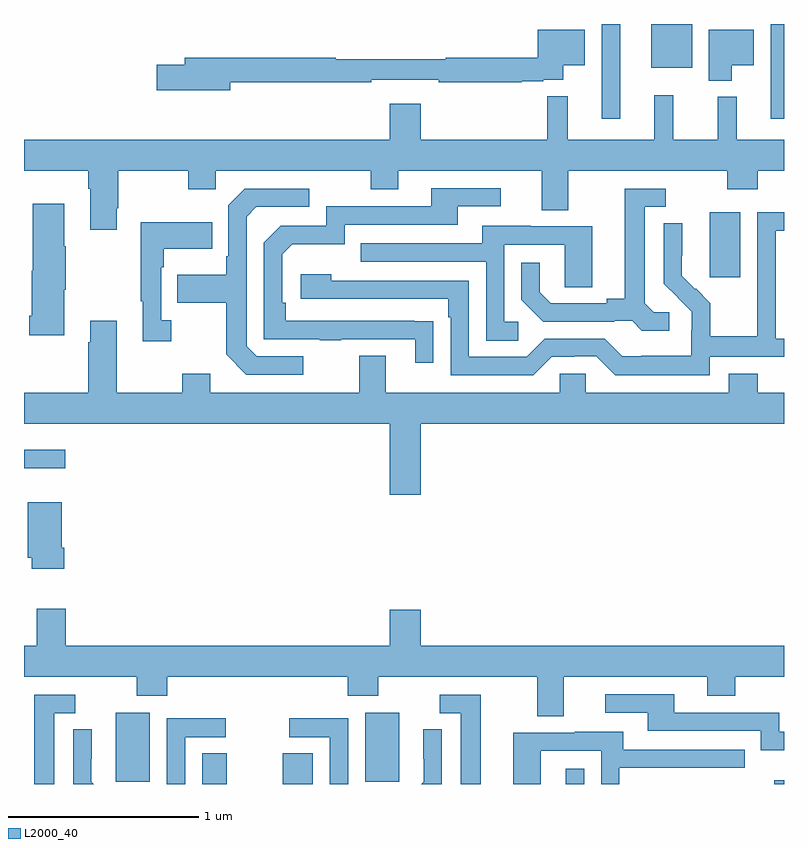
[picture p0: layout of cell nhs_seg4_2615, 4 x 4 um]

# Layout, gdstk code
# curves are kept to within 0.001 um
import gdstk
lib = gdstk.Library(unit=1e-6, precision=1e-09)
def R(c, l, rs):  # rectangles x0, y0, x1, y1
    for r in rs: c.add(gdstk.rectangle(r[:2], r[2:], *l))
def P(c, l, *ps):  # polygons
    for p in ps: c.add(gdstk.Polygon(p, *l))
L2000_40 = (2000, 40)

nhs_seg4_2615 = lib.new_cell('nhs_seg4_2615')
R(nhs_seg4_2615, L2000_40, [(247.937,818.9,248.068,819.062), (248.363,818.9,248.521,819.062), (249.851,818.9,249.948,818.98), (250.949,818.9,251,818.92), (247.484,818.913,247.663,819.274), (248.795,818.913,248.974,819.274), (247,820.563,247.216,820.66), (250.61,821.568,250.771,821.908), (250.041,822.402,250.138,822.9), (250.929,822.402,251,822.9), (250.301,822.671,250.516,822.9)])
P(nhs_seg4_2615, L2000_40, [(250.726,822.683),(250.84,822.683),(250.84,822.871),(250.604,822.871),(250.604,822.602),(250.726,822.602)],
  [(248.086,822.594),(248.828,822.594),(248.828,822.606),(249.184,822.606),(249.184,822.594),(249.62,822.594),(249.62,822.6),(249.734,822.6),(249.734,822.606),(249.838,822.606),(249.838,822.683),(249.952,822.683),(249.952,822.871),(249.704,822.871),(249.704,822.722),(249.22,822.722),(249.22,822.715),(248.641,822.715),(248.641,822.722),(247.847,822.722),(247.847,822.686),(247.698,822.686),(247.698,822.551),(248.086,822.551)],
  [(247.489,821.929),(247.497,821.929),(247.497,822.128),(247.864,822.128),(247.864,822.029),(248.01,822.029),(248.01,822.128),(248.824,822.128),(248.824,822.029),(248.971,822.029),(248.971,822.128),(249.725,822.128),(249.725,821.92),(249.865,821.92),(249.865,822.128),(250.702,822.128),(250.702,822.029),(250.862,822.029),(250.862,822.128),(251,822.128),(251,822.292),(250.751,822.292),(250.751,822.517),(250.651,822.517),(250.651,822.292),(250.416,822.292),(250.416,822.526),(250.316,822.526),(250.316,822.292),(249.863,822.292),(249.863,822.521),(249.754,822.521),(249.754,822.292),(249.088,822.292),(249.088,822.481),(248.924,822.481),(248.924,822.292),(247,822.292),(247,822.128),(247.337,822.128),(247.337,822.032),(247.349,822.032),(247.349,821.817),(247.489,821.817)],
  [(249.155,821.336),(248.378,821.337),(248.378,821.434),(248.358,821.434),(248.358,821.688),(248.411,821.741),(248.688,821.741),(248.688,821.844),(249.283,821.844),(249.283,821.94),(249.508,821.94),(249.508,822.036),(249.143,822.036),(249.143,821.94),(248.592,821.94),(248.592,821.838),(248.352,821.838),(248.262,821.748),(248.262,821.241),(248.557,821.241),(248.557,821.236),(248.669,821.236),(248.669,821.241),(249.059,821.241),(249.059,821.118),(249.155,821.118)],
  [(250.396,821.382),(250.314,821.382),(250.267,821.429),(250.267,821.937),(250.378,821.937),(250.378,822.033),(250.163,822.033),(250.163,821.453),(250.067,821.453),(250.067,821.43),(249.772,821.43),(249.715,821.487),(249.715,821.644),(249.618,821.644),(249.618,821.45),(249.734,821.334),(250.106,821.334),(250.106,821.337),(250.2,821.337),(250.252,821.285),(250.396,821.285)],
  [(248.47,821.151),(248.226,821.151),(248.172,821.205),(248.172,821.886),(248.223,821.937),(248.5,821.937),(248.5,822.033),(248.163,822.033),(248.076,821.946),(248.076,821.677),(248.064,821.677),(248.064,821.581),(247.807,821.581),(247.807,821.434),(248.064,821.434),(248.064,821.161),(248.169,821.055),(248.47,821.055)],
  [(247.213,821.501),(247.221,821.501),(247.221,821.729),(247.213,821.729),(247.213,821.953),(247.046,821.953),(247.046,821.601),(247.04,821.601),(247.04,821.365),(247.028,821.365),(247.028,821.261),(247.213,821.261)],
  [(250.608,821.148),(251,821.148),(251,821.244),(250.956,821.244),(250.956,821.811),(251,821.811),(251,821.91),(250.86,821.91),(250.86,821.48),(250.858,821.48),(250.858,821.257),(250.613,821.257),(250.613,821.431),(250.536,821.508),(250.533,821.505),(250.463,821.576),(250.463,821.68),(250.465,821.68),(250.465,821.852),(250.368,821.852),(250.368,821.534),(250.514,821.386),(250.514,821.289),(250.512,821.289),(250.512,821.155),(250.249,821.155),(250.249,821.151),(250.149,821.151),(250.056,821.244),(249.741,821.244),(249.645,821.148),(249.342,821.148),(249.342,821.55),(248.618,821.55),(248.618,821.584),(248.457,821.584),(248.457,821.454),(249.233,821.454),(249.233,821.357),(249.246,821.357),(249.246,821.052),(249.681,821.052),(249.777,821.148),(249.896,821.148),(249.896,821.151),(250.011,821.151),(250.111,821.051),(250.608,821.051)],
  [(247.774,821.342),(247.722,821.342),(247.722,821.621),(247.735,821.621),(247.735,821.717),(247.991,821.717),(247.991,821.857),(247.614,821.857),(247.614,821.441),(247.625,821.441),(247.625,821.229),(247.774,821.229)],
  [(249.601,821.334),(249.528,821.334),(249.528,821.739),(249.846,821.739),(249.846,821.515),(249.991,821.515),(249.991,821.835),(249.667,821.835),(249.667,821.839),(249.413,821.839),(249.413,821.745),(248.773,821.745),(248.773,821.649),(249.432,821.649),(249.432,821.233),(249.601,821.233)],
  [(249.088,820.796),(251,820.796),(251,820.96),(250.862,820.96),(250.862,821.059),(250.709,821.059),(250.709,820.96),(249.957,820.96),(249.957,821.058),(249.819,821.058),(249.819,820.96),(248.905,820.96),(248.905,821.155),(248.765,821.155),(248.765,820.96),(247.981,820.96),(247.981,821.059),(247.834,821.059),(247.834,820.96),(247.489,820.96),(247.489,821.338),(247.349,821.338),(247.349,821.225),(247.337,821.225),(247.337,820.96),(247,820.96),(247,820.796),(248.924,820.796),(248.924,820.422),(249.088,820.422)],
  [(247.211,820.144),(247.198,820.144),(247.198,820.384),(247.019,820.384),(247.019,820.092),(247.04,820.092),(247.04,820.032),(247.211,820.032)],
  [(249.841,819.464),(250.595,819.464),(250.595,819.365),(250.743,819.365),(250.743,819.464),(251,819.464),(251,819.628),(249.088,819.628),(249.088,819.817),(248.924,819.817),(248.924,819.628),(247.22,819.628),(247.22,819.823),(247.067,819.823),(247.067,819.628),(247,819.628),(247,819.464),(247.594,819.464),(247.594,819.365),(247.754,819.365),(247.754,819.464),(248.705,819.464),(248.705,819.365),(248.865,819.365),(248.865,819.464),(249.701,819.464),(249.701,819.256),(249.841,819.256)],
  [(251,819.174),(250.974,819.174),(250.974,819.276),(250.423,819.276),(250.423,819.372),(250.059,819.372),(250.059,819.276),(250.283,819.276),(250.283,819.18),(250.878,819.18),(250.878,819.077),(251,819.077)],
  [(247.159,819.273),(247.27,819.273),(247.27,819.369),(247.055,819.369),(247.055,818.9),(247.159,818.9)],
  [(249.403,819.369),(249.189,819.369),(249.189,819.273),(249.299,819.273),(249.299,818.9),(249.403,818.9)],
  [(248.706,819.246),(248.397,819.246),(248.397,819.147),(248.61,819.147),(248.61,818.9),(248.706,818.9)],
  [(247.848,819.147),(248.062,819.147),(248.062,819.246),(247.752,819.246),(247.752,818.9),(247.848,818.9)],
  [(249.198,819.188),(249.102,819.188),(249.102,819.034),(249.104,819.034),(249.104,818.912),(249.092,818.9),(249.198,818.9)],
  [(247.355,818.912),(247.355,819.034),(247.356,819.034),(247.356,819.188),(247.26,819.188),(247.26,818.9),(247.367,818.9)],
  [(249.72,819.075),(250.038,819.075),(250.038,818.9),(250.134,818.9),(250.134,818.985),(250.793,818.985),(250.793,819.081),(250.153,819.081),(250.153,819.175),(249.899,819.175),(249.899,819.171),(249.575,819.171),(249.575,818.9),(249.72,818.9)])

lib.write_gds('nhs_seg4_2615.gds')
